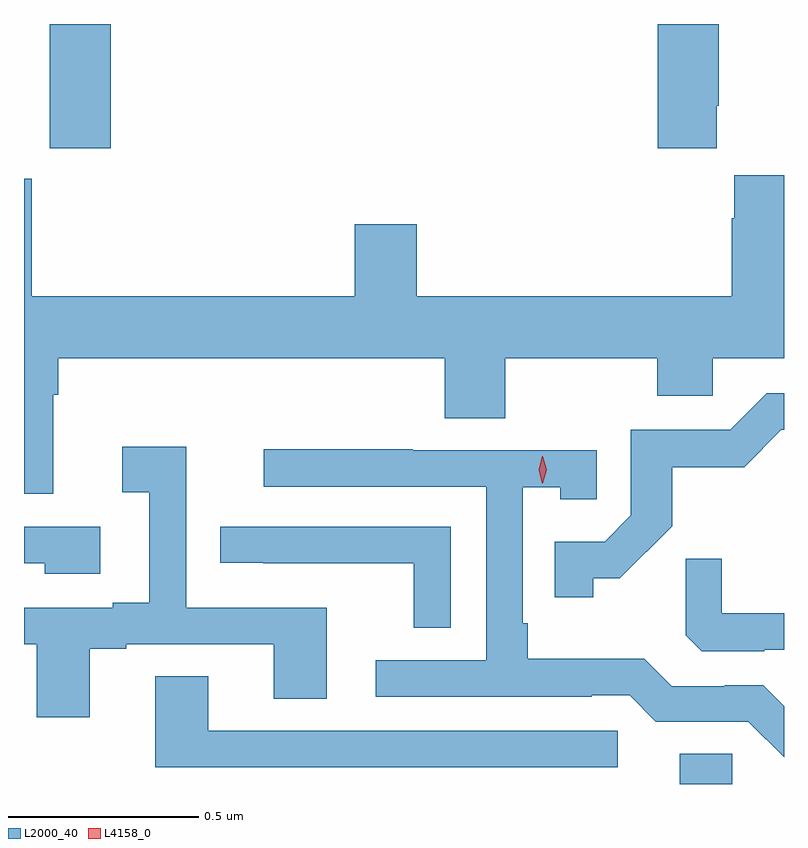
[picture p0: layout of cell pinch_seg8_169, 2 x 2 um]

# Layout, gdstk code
import gdstk
lib = gdstk.Library(unit=1e-6, precision=1e-09)
def R(c, l, rs):  # rectangles x0, y0, x1, y1
    for r in rs: c.add(gdstk.rectangle(r[:2], r[2:], *l))
def P(c, l, *ps):  # polygons
    for p in ps: c.add(gdstk.Polygon(p, *l))
L2000_40 = (2000, 40)
L4158_0 = (4158, 0)

pinch_seg8_169 = lib.new_cell('pinch_seg8_169')
R(pinch_seg8_169, L2000_40, [(657.371,1151.344,657.51,1151.423), (655.714,1153.017,655.874,1153.344)])
P(pinch_seg8_169, L2000_40, [(657.469,1153.129),(657.474,1153.129),(657.474,1153.344),(657.314,1153.344),(657.314,1153.017),(657.469,1153.017)],
  [(655.723,1152.368),(655.736,1152.368),(655.736,1152.464),(656.753,1152.464),(656.753,1152.307),(656.913,1152.307),(656.913,1152.464),(657.313,1152.464),(657.313,1152.366),(657.459,1152.366),(657.459,1152.464),(657.646,1152.464),(657.646,1152.946),(657.515,1152.946),(657.515,1152.833),(657.509,1152.833),(657.509,1152.628),(656.68,1152.628),(656.68,1152.817),(656.516,1152.817),(656.516,1152.628),(655.666,1152.628),(655.666,1152.937),(655.646,1152.937),(655.646,1152.108),(655.723,1152.108)],
  [(657.144,1151.885),(657.214,1151.885),(657.352,1152.022),(657.352,1152.178),(657.541,1152.178),(657.639,1152.276),(657.646,1152.276),(657.646,1152.372),(657.6,1152.372),(657.504,1152.276),(657.243,1152.276),(657.243,1152.051),(657.174,1151.982),(657.043,1151.982),(657.043,1151.835),(657.144,1151.835)],
  [(655.819,1151.7),(655.915,1151.7),(655.915,1151.712),(656.303,1151.712),(656.303,1151.569),(656.443,1151.569),(656.443,1151.808),(656.073,1151.808),(656.073,1152.232),(655.905,1152.232),(655.905,1152.112),(655.976,1152.112),(655.976,1151.821),(655.88,1151.821),(655.88,1151.808),(655.646,1151.808),(655.646,1151.712),(655.679,1151.712),(655.679,1151.52),(655.819,1151.52)],
  [(657.646,1151.549),(657.591,1151.604),(657.49,1151.604),(657.49,1151.601),(657.351,1151.601),(657.278,1151.674),(656.971,1151.674),(656.971,1151.767),(656.958,1151.767),(656.958,1152.125),(657.057,1152.125),(657.057,1152.093),(657.153,1152.093),(657.153,1152.222),(656.669,1152.222),(656.669,1152.225),(656.277,1152.225),(656.277,1152.126),(656.862,1152.126),(656.862,1151.67),(656.571,1151.67),(656.571,1151.574),(657.14,1151.574),(657.14,1151.577),(657.24,1151.577),(657.309,1151.508),(657.552,1151.508),(657.646,1151.414)],
  [(655.846,1152.021),(655.646,1152.021),(655.646,1151.925),(655.701,1151.925),(655.701,1151.897),(655.846,1151.897)],
  [(656.769,1152.021),(656.163,1152.021),(656.163,1151.926),(656.275,1151.926),(656.275,1151.925),(656.671,1151.925),(656.671,1151.755),(656.769,1151.755)],
  [(657.594,1151.697),(657.646,1151.697),(657.646,1151.794),(657.482,1151.794),(657.482,1151.937),(657.388,1151.937),(657.388,1151.735),(657.429,1151.694),(657.594,1151.694)],
  [(657.208,1151.484),(656.131,1151.484),(656.131,1151.627),(655.991,1151.627),(655.991,1151.388),(657.208,1151.388)])
P(pinch_seg8_169, L4158_0, [(657.01,1152.135),(657.001,1152.171),(657.01,1152.206),(657.011,1152.207),(657.011,1152.206),(657.021,1152.171),(657.011,1152.135),(657.011,1152.135)])

lib.write_gds('pinch_seg8_169.gds')
